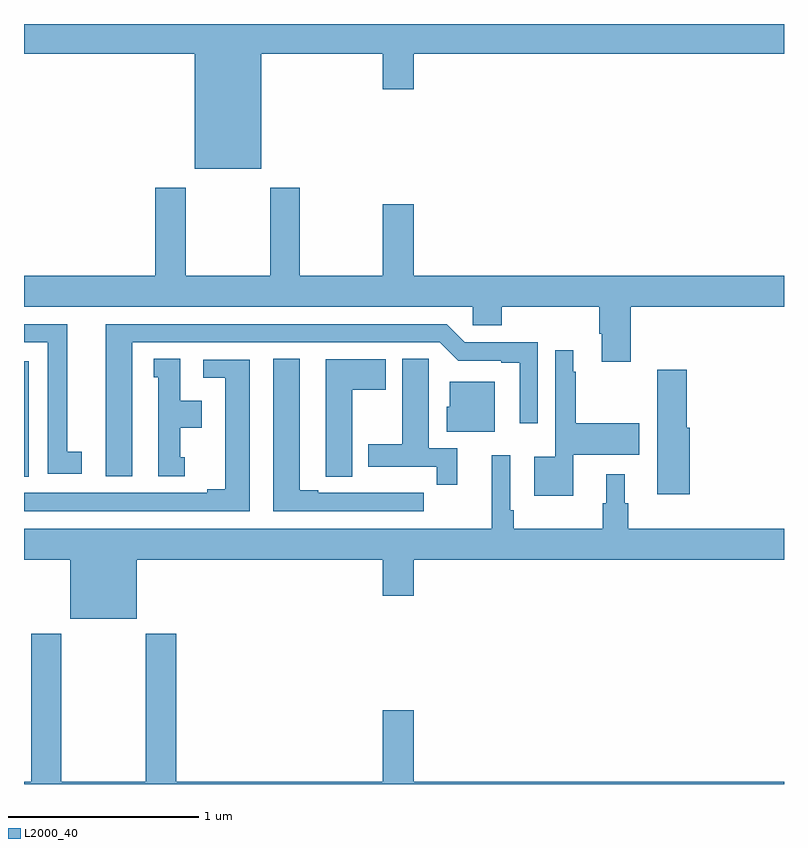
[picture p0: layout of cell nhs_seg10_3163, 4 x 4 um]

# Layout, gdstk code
import gdstk
lib = gdstk.Library(unit=1e-6, precision=1e-09)
def R(c, l, rs):  # rectangles x0, y0, x1, y1
    for r in rs: c.add(gdstk.rectangle(r[:2], r[2:], *l))
def P(c, l, *ps):  # polygons
    for p in ps: c.add(gdstk.Polygon(p, *l))
L2000_40 = (2000, 40)

nhs_seg10_3163 = lib.new_cell('nhs_seg10_3163')
R(nhs_seg10_3163, L2000_40, [(283,1270.117,283.024,1270.725)])
P(nhs_seg10_3163, L2000_40, [(284.248,1272.344),(284.888,1272.344),(284.888,1272.156),(285.052,1272.156),(285.052,1272.344),(287,1272.344),(287,1272.5),(283,1272.5),(283,1272.344),(283.898,1272.344),(283.898,1271.738),(284.248,1271.738)],
  [(286.193,1271.012),(287,1271.012),(287,1271.176),(285.052,1271.176),(285.052,1271.551),(284.888,1271.551),(284.888,1271.176),(284.451,1271.176),(284.451,1271.638),(284.296,1271.638),(284.296,1271.176),(283.851,1271.176),(283.851,1271.638),(283.691,1271.638),(283.691,1271.176),(283,1271.176),(283,1271.012),(285.363,1271.012),(285.363,1270.914),(285.515,1270.914),(285.515,1271.012),(286.028,1271.012),(286.028,1270.87),(286.04,1270.87),(286.04,1270.722),(286.193,1270.722)],
  [(283.303,1270.25),(283.228,1270.25),(283.228,1270.92),(283,1270.92),(283,1270.824),(283.124,1270.824),(283.124,1270.134),(283.303,1270.134)],
  [(283.57,1270.824),(285.189,1270.824),(285.285,1270.728),(285.512,1270.728),(285.512,1270.716),(285.608,1270.716),(285.608,1270.398),(285.705,1270.398),(285.705,1270.824),(285.321,1270.824),(285.225,1270.92),(283.43,1270.92),(283.43,1270.119),(283.57,1270.119)],
  [(285.892,1270.232),(286.237,1270.232),(286.237,1270.398),(285.904,1270.398),(285.904,1270.67),(285.892,1270.67),(285.892,1270.783),(285.795,1270.783),(285.795,1270.222),(285.686,1270.222),(285.686,1270.016),(285.892,1270.016)],
  [(283.846,1270.221),(283.822,1270.221),(283.822,1270.376),(283.936,1270.376),(283.936,1270.516),(283.822,1270.516),(283.822,1270.739),(283.682,1270.739),(283.682,1270.641),(283.706,1270.641),(283.706,1270.119),(283.846,1270.119)],
  [(285.103,1270.032),(284.99,1270.032),(284.99,1270.033),(284.824,1270.033),(284.824,1270.032),(284.548,1270.032),(284.548,1270.047),(284.452,1270.047),(284.452,1270.739),(284.312,1270.739),(284.312,1269.936),(285.103,1269.936)],
  [(285.281,1270.266),(285.13,1270.266),(285.13,1270.628),(285.129,1270.628),(285.129,1270.739),(284.99,1270.739),(284.99,1270.287),(284.813,1270.287),(284.813,1270.17),(285.172,1270.17),(285.172,1270.074),(285.281,1270.074)],
  [(284.728,1270.576),(284.905,1270.576),(284.905,1270.735),(284.588,1270.735),(284.588,1270.225),(284.589,1270.225),(284.589,1270.117),(284.728,1270.117)],
  [(284.188,1270.734),(283.944,1270.734),(283.944,1270.638),(284.06,1270.638),(284.06,1270.052),(283.964,1270.052),(283.964,1270.032),(283,1270.032),(283,1269.936),(284.188,1269.936)],
  [(286.505,1270.374),(286.487,1270.374),(286.487,1270.681),(286.333,1270.681),(286.333,1270.486),(286.334,1270.486),(286.334,1270.026),(286.505,1270.026)],
  [(285.478,1270.618),(285.242,1270.618),(285.242,1270.485),(285.224,1270.485),(285.224,1270.355),(285.478,1270.355)],
  [(283.594,1269.68),(284.888,1269.68),(284.888,1269.492),(285.052,1269.492),(285.052,1269.68),(287,1269.68),(287,1269.844),(286.181,1269.844),(286.181,1269.978),(286.162,1269.978),(286.162,1270.129),(286.064,1270.129),(286.064,1269.978),(286.045,1269.978),(286.045,1269.844),(285.578,1269.844),(285.578,1269.94),(285.558,1269.94),(285.558,1270.231),(285.461,1270.231),(285.461,1269.844),(283,1269.844),(283,1269.68),(283.244,1269.68),(283.244,1269.371),(283.594,1269.371)],
  [(287,1268.512),(285.052,1268.512),(285.052,1268.887),(284.888,1268.887),(284.888,1268.512),(283.802,1268.512),(283.802,1269.292),(283.642,1269.292),(283.642,1268.512),(283.197,1268.512),(283.197,1269.292),(283.037,1269.292),(283.037,1268.512),(283,1268.512),(283,1268.5),(287,1268.5)])

lib.write_gds('nhs_seg10_3163.gds')
